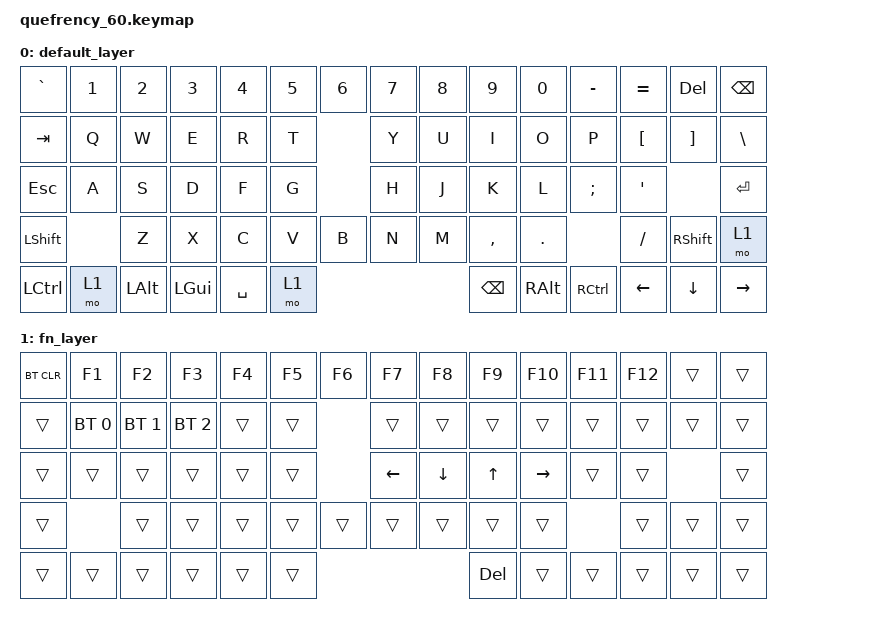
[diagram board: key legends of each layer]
/*
 * Copyright (c) 2020 The ZMK Contributors
 *
 * SPDX-License-Identifier: MIT
 */

#include <behaviors.dtsi>
#include <dt-bindings/zmk/bt.h>
#include <dt-bindings/zmk/keys.h>

/ {
    keymap {
        compatible = "zmk,keymap";
// () represents keys that exist but that I am not going to populate on my build
// ----------------------------------------------      ----------------------------------------------
// |  `   |  1   |  2  |  3   |  4  |  5  |  6  |      |  7  |  8  |  9  |  0  |  -  |  =  |()|BSPC |
// | TAB   |  Q   |  W  |  E   |  R  |  T  |        |  Y  |  U  |  I  |  O  |  P  |  [  |  ]  |  \  |
// | ESC    |  A   |  S  |  D   |  F  |  G  |        |  H  |  J  |  K  |  L  |  ;  |  '  |   ENTER  |
// | SHIFT   |  Z   |  X  |  C  |  V   |  B  |        |  N  |  M  |  ,  |  .  |  /  |    RSHFT   |()|
// | LCTRL   |  FN  | LALT | LGUI |  SPACE   |        | FN |  BKSPC | RALT | RCTRL |()| DWN | RIGHT |
// -------------------------------------------        -----------------------------------------------

        default_layer {
            bindings = <
    &kp GRAVE   &kp N1  &kp N2      &kp N3      &kp N4      &kp N5 &kp N6       /**/    &kp N7  &kp N8          &kp N9      &kp N0      &kp MINUS   &kp EQUAL   &kp DELETE  &kp BACKSPACE
    &kp TAB     &kp Q   &kp W       &kp E       &kp R       &kp T               /**/    &kp Y   &kp U           &kp I       &kp O       &kp P       &kp LBKT    &kp RBKT    &kp BSLH
    &kp ESCAPE  &kp A   &kp S       &kp D       &kp F       &kp G               /**/    &kp H   &kp J           &kp K       &kp L       &kp SEMI    &kp SQT                 &kp RET
    &kp LSHFT           &kp Z       &kp X       &kp C       &kp V   &kp B       /**/    &kp N   &kp M           &kp COMMA   &kp DOT                 &kp FSLH    &kp RSHFT   &mo 1
    &kp LCTRL   &mo 1   &kp LALT                &kp LGUI            &kp SPACE   /**/    &mo 1   &kp BACKSPACE               &kp RALT    &kp RCTRL   &kp LEFT    &kp DOWN    &kp RIGHT
            >;
        };

// ----------------------------------------------     -----------------------------------------------------
// |BT_CLR|  F1  |  F2 |  F3  |  F4 |  F5 |  F6 |     |  F7 |  F8 |  F9 | F10 | F11 | F12 |        |      |
// |       | BT-p0 | BT-1| BT-2 |     |     |       |     |     |     |     |     |     |     |     |      |
// |        |      |     |      |     |     |       | LEFT | DOWN | UP | RIGHT |     |      |      |      |
// |         |      |     |     |      |     |       |     |     |     |     |     |         |     |      |
// |         |      |      |           |     |       |       |   DELETE   |    |       |     |     |      |
// -------------------------------------------       ------------------------------------------------------

        fn_layer {
            bindings = <
    &bt BT_CLR  &kp F1       &kp F2       &kp F3       &kp F4   &kp F5  &kp F6  /**/    &kp F7      &kp F8      &kp F9      &kp F10     &kp F11     &kp F12     &trans      &trans
    &trans      &bt BT_SEL 0 &bt BT_SEL 1 &bt BT_SEL 2 &trans   &trans          /**/    &trans      &trans      &trans      &trans      &trans      &trans      &trans      &trans
    &trans      &trans       &trans       &trans       &trans   &trans          /**/    &kp LEFT    &kp DOWN    &kp UP      &kp RIGHT   &trans      &trans                  &trans
    &trans                   &trans       &trans       &trans   &trans  &trans  /**/    &trans      &trans      &trans      &trans                  &trans      &trans      &trans
    &trans      &trans       &trans                    &trans           &trans  /**/    &trans      &kp DELETE              &trans      &trans      &trans      &trans      &trans
            >;
        };
    };
};
